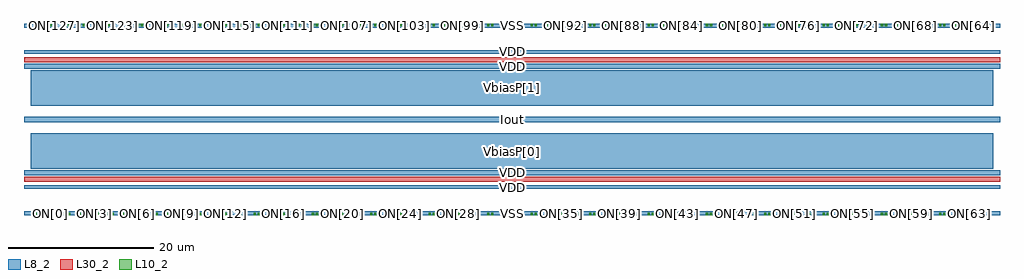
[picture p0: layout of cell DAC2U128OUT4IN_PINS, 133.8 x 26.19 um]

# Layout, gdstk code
import gdstk
lib = gdstk.Library(unit=1e-6, precision=1e-09)
def R(c, l, rs):  # rectangles x0, y0, x1, y1
    for r in rs: c.add(gdstk.rectangle(r[:2], r[2:], *l))
L8_2 = (8, 2)
L10_2 = (10, 2)
L30_2 = (30, 2)

dac2u128out4in_pins = lib.new_cell('DAC2U128OUT4IN_PINS')
R(dac2u128out4in_pins, L8_2, [(-1.9,-4.91,131.9,-4.41), (-1.9,-1.33,131.9,-0.83), (-1.9,0.55,131.9,1.22), (-1,1.4,131,6.33), (-1.9,7.835,131.9,8.535), (-1,10.04,131,14.97), (-1.9,15.15,131.9,15.82), (-1.9,17.2,131.9,17.7), (-1.9,20.78,131.9,21.28)])
R(dac2u128out4in_pins, L10_2, [(-0.42,-4.91,-0.13,-4.62), (0.13,-4.91,0.42,-4.62), (1.58,-4.91,1.87,-4.62), (2.13,-4.91,2.42,-4.62), (3.58,-4.91,3.87,-4.62), (4.13,-4.91,4.42,-4.62), (5.58,-4.91,5.87,-4.62), (6.13,-4.91,6.42,-4.62), (7.58,-4.91,7.87,-4.62), (8.13,-4.91,8.42,-4.62), (9.58,-4.91,9.87,-4.62), (10.13,-4.91,10.42,-4.62), (11.58,-4.91,11.87,-4.62), (12.13,-4.91,12.42,-4.62), (13.58,-4.91,13.87,-4.62), (14.13,-4.91,14.42,-4.62), (15.58,-4.91,15.87,-4.62), (16.13,-4.91,16.42,-4.62), (17.58,-4.91,17.87,-4.62), (18.13,-4.91,18.42,-4.62), (19.58,-4.91,19.87,-4.62), (20.13,-4.91,20.42,-4.62), (21.58,-4.91,21.87,-4.62), (22.13,-4.91,22.42,-4.62), (23.58,-4.91,23.87,-4.62), (24.13,-4.91,24.42,-4.62), (25.58,-4.91,25.87,-4.62), (26.13,-4.91,26.42,-4.62), (27.58,-4.91,27.87,-4.62), (28.13,-4.91,28.42,-4.62), (29.58,-4.91,29.87,-4.62), (30.13,-4.91,30.42,-4.62), (31.58,-4.91,31.87,-4.62), (32.13,-4.91,32.42,-4.62), (33.58,-4.91,33.87,-4.62), (34.13,-4.91,34.42,-4.62), (35.58,-4.91,35.87,-4.62), (36.13,-4.91,36.42,-4.62), (37.58,-4.91,37.87,-4.62), (38.13,-4.91,38.42,-4.62), (39.58,-4.91,39.87,-4.62), (40.13,-4.91,40.42,-4.62), (41.58,-4.91,41.87,-4.62), (42.13,-4.91,42.42,-4.62), (43.58,-4.91,43.87,-4.62), (44.13,-4.91,44.42,-4.62), (45.58,-4.91,45.87,-4.62), (46.13,-4.91,46.42,-4.62), (47.58,-4.91,47.87,-4.62), (48.13,-4.91,48.42,-4.62), (49.58,-4.91,49.87,-4.62), (50.13,-4.91,50.42,-4.62), (51.58,-4.91,51.87,-4.62), (52.13,-4.91,52.42,-4.62), (53.58,-4.91,53.87,-4.62), (54.13,-4.91,54.42,-4.62), (55.58,-4.91,55.87,-4.62), (56.13,-4.91,56.42,-4.62), (57.58,-4.91,57.87,-4.62), (58.13,-4.91,58.42,-4.62), (59.58,-4.91,59.87,-4.62), (60.13,-4.91,60.42,-4.62), (61.58,-4.91,61.87,-4.62), (62.13,-4.91,62.42,-4.62), (63.58,-4.91,63.87,-4.62), (64.13,-4.91,64.42,-4.62), (65.58,-4.91,65.87,-4.62), (66.13,-4.91,66.42,-4.62), (67.58,-4.91,67.87,-4.62), (68.13,-4.91,68.42,-4.62), (69.58,-4.91,69.87,-4.62), (70.13,-4.91,70.42,-4.62), (71.58,-4.91,71.87,-4.62), (72.13,-4.91,72.42,-4.62), (73.58,-4.91,73.87,-4.62), (74.13,-4.91,74.42,-4.62), (75.58,-4.91,75.87,-4.62), (76.13,-4.91,76.42,-4.62), (77.58,-4.91,77.87,-4.62), (78.13,-4.91,78.42,-4.62), (79.58,-4.91,79.87,-4.62), (80.13,-4.91,80.42,-4.62), (81.58,-4.91,81.87,-4.62), (82.13,-4.91,82.42,-4.62), (83.58,-4.91,83.87,-4.62), (84.13,-4.91,84.42,-4.62), (85.58,-4.91,85.87,-4.62), (86.13,-4.91,86.42,-4.62), (87.58,-4.91,87.87,-4.62), (88.13,-4.91,88.42,-4.62), (89.58,-4.91,89.87,-4.62), (90.13,-4.91,90.42,-4.62), (91.58,-4.91,91.87,-4.62), (92.13,-4.91,92.42,-4.62), (93.58,-4.91,93.87,-4.62), (94.13,-4.91,94.42,-4.62), (95.58,-4.91,95.87,-4.62), (96.13,-4.91,96.42,-4.62), (97.58,-4.91,97.87,-4.62), (98.13,-4.91,98.42,-4.62), (99.58,-4.91,99.87,-4.62), (100.13,-4.91,100.42,-4.62), (101.58,-4.91,101.87,-4.62), (102.13,-4.91,102.42,-4.62), (103.58,-4.91,103.87,-4.62), (104.13,-4.91,104.42,-4.62), (105.58,-4.91,105.87,-4.62), (106.13,-4.91,106.42,-4.62), (107.58,-4.91,107.87,-4.62), (108.13,-4.91,108.42,-4.62), (109.58,-4.91,109.87,-4.62), (110.13,-4.91,110.42,-4.62), (111.58,-4.91,111.87,-4.62), (112.13,-4.91,112.42,-4.62), (113.58,-4.91,113.87,-4.62), (114.13,-4.91,114.42,-4.62), (115.58,-4.91,115.87,-4.62), (116.13,-4.91,116.42,-4.62), (117.58,-4.91,117.87,-4.62), (118.13,-4.91,118.42,-4.62), (119.58,-4.91,119.87,-4.62), (120.13,-4.91,120.42,-4.62), (121.58,-4.91,121.87,-4.62), (122.13,-4.91,122.42,-4.62), (123.58,-4.91,123.87,-4.62), (124.13,-4.91,124.42,-4.62), (125.58,-4.91,125.87,-4.62), (126.13,-4.91,126.42,-4.62), (127.58,-4.91,127.87,-4.62), (128.13,-4.91,128.42,-4.62), (129.58,-4.91,129.87,-4.62), (130.13,-4.91,130.42,-4.62), (-0.42,20.99,-0.13,21.28), (0.13,20.99,0.42,21.28), (1.58,20.99,1.87,21.28), (2.13,20.99,2.42,21.28), (3.58,20.99,3.87,21.28), (4.13,20.99,4.42,21.28), (5.58,20.99,5.87,21.28), (6.13,20.99,6.42,21.28), (7.58,20.99,7.87,21.28), (8.13,20.99,8.42,21.28), (9.58,20.99,9.87,21.28), (10.13,20.99,10.42,21.28), (11.58,20.99,11.87,21.28), (12.13,20.99,12.42,21.28), (13.58,20.99,13.87,21.28), (14.13,20.99,14.42,21.28), (15.58,20.99,15.87,21.28), (16.13,20.99,16.42,21.28), (17.58,20.99,17.87,21.28), (18.13,20.99,18.42,21.28), (19.58,20.99,19.87,21.28), (20.13,20.99,20.42,21.28), (21.58,20.99,21.87,21.28), (22.13,20.99,22.42,21.28), (23.58,20.99,23.87,21.28), (24.13,20.99,24.42,21.28), (25.58,20.99,25.87,21.28), (26.13,20.99,26.42,21.28), (27.58,20.99,27.87,21.28), (28.13,20.99,28.42,21.28), (29.58,20.99,29.87,21.28), (30.13,20.99,30.42,21.28), (31.58,20.99,31.87,21.28), (32.13,20.99,32.42,21.28), (33.58,20.99,33.87,21.28), (34.13,20.99,34.42,21.28), (35.58,20.99,35.87,21.28), (36.13,20.99,36.42,21.28), (37.58,20.99,37.87,21.28), (38.13,20.99,38.42,21.28), (39.58,20.99,39.87,21.28), (40.13,20.99,40.42,21.28), (41.58,20.99,41.87,21.28), (42.13,20.99,42.42,21.28), (43.58,20.99,43.87,21.28), (44.13,20.99,44.42,21.28), (45.58,20.99,45.87,21.28), (46.13,20.99,46.42,21.28), (47.58,20.99,47.87,21.28), (48.13,20.99,48.42,21.28), (49.58,20.99,49.87,21.28), (50.13,20.99,50.42,21.28), (51.58,20.99,51.87,21.28), (52.13,20.99,52.42,21.28), (53.58,20.99,53.87,21.28), (54.13,20.99,54.42,21.28), (55.58,20.99,55.87,21.28), (56.13,20.99,56.42,21.28), (57.58,20.99,57.87,21.28), (58.13,20.99,58.42,21.28), (59.58,20.99,59.87,21.28), (60.13,20.99,60.42,21.28), (61.58,20.99,61.87,21.28), (62.13,20.99,62.42,21.28), (63.58,20.99,63.87,21.28), (64.13,20.99,64.42,21.28), (65.58,20.99,65.87,21.28), (66.13,20.99,66.42,21.28), (67.58,20.99,67.87,21.28), (68.13,20.99,68.42,21.28), (69.58,20.99,69.87,21.28), (70.13,20.99,70.42,21.28), (71.58,20.99,71.87,21.28), (72.13,20.99,72.42,21.28), (73.58,20.99,73.87,21.28), (74.13,20.99,74.42,21.28), (75.58,20.99,75.87,21.28), (76.13,20.99,76.42,21.28), (77.58,20.99,77.87,21.28), (78.13,20.99,78.42,21.28), (79.58,20.99,79.87,21.28), (80.13,20.99,80.42,21.28), (81.58,20.99,81.87,21.28), (82.13,20.99,82.42,21.28), (83.58,20.99,83.87,21.28), (84.13,20.99,84.42,21.28), (85.58,20.99,85.87,21.28), (86.13,20.99,86.42,21.28), (87.58,20.99,87.87,21.28), (88.13,20.99,88.42,21.28), (89.58,20.99,89.87,21.28), (90.13,20.99,90.42,21.28), (91.58,20.99,91.87,21.28), (92.13,20.99,92.42,21.28), (93.58,20.99,93.87,21.28), (94.13,20.99,94.42,21.28), (95.58,20.99,95.87,21.28), (96.13,20.99,96.42,21.28), (97.58,20.99,97.87,21.28), (98.13,20.99,98.42,21.28), (99.58,20.99,99.87,21.28), (100.13,20.99,100.42,21.28), (101.58,20.99,101.87,21.28), (102.13,20.99,102.42,21.28), (103.58,20.99,103.87,21.28), (104.13,20.99,104.42,21.28), (105.58,20.99,105.87,21.28), (106.13,20.99,106.42,21.28), (107.58,20.99,107.87,21.28), (108.13,20.99,108.42,21.28), (109.58,20.99,109.87,21.28), (110.13,20.99,110.42,21.28), (111.58,20.99,111.87,21.28), (112.13,20.99,112.42,21.28), (113.58,20.99,113.87,21.28), (114.13,20.99,114.42,21.28), (115.58,20.99,115.87,21.28), (116.13,20.99,116.42,21.28), (117.58,20.99,117.87,21.28), (118.13,20.99,118.42,21.28), (119.58,20.99,119.87,21.28), (120.13,20.99,120.42,21.28), (121.58,20.99,121.87,21.28), (122.13,20.99,122.42,21.28), (123.58,20.99,123.87,21.28), (124.13,20.99,124.42,21.28), (125.58,20.99,125.87,21.28), (126.13,20.99,126.42,21.28), (127.58,20.99,127.87,21.28), (128.13,20.99,128.42,21.28), (129.58,20.99,129.87,21.28), (130.13,20.99,130.42,21.28)])
R(dac2u128out4in_pins, L30_2, [(-1.9,-0.35,131.9,0.35), (-1.9,16.02,131.9,16.72)])
dac2u128out4in_pins.add(gdstk.Label('VDD', (65,15.485), layer=8, texttype=2))
dac2u128out4in_pins.add(gdstk.Label('VDD', (65,17.45), layer=8, texttype=2))
dac2u128out4in_pins.add(gdstk.Label('VSS', (65,21.03), layer=8, texttype=2))
dac2u128out4in_pins.add(gdstk.Label('VbiasP[1]', (65,12.505), layer=8, texttype=2))
dac2u128out4in_pins.add(gdstk.Label('Iout', (65,8.185), layer=8, texttype=2))
dac2u128out4in_pins.add(gdstk.Label('VDD', (65,0.885), layer=8, texttype=2))
dac2u128out4in_pins.add(gdstk.Label('VDD', (65,-1.08), layer=8, texttype=2))
dac2u128out4in_pins.add(gdstk.Label('VSS', (65,-4.66), layer=8, texttype=2))
dac2u128out4in_pins.add(gdstk.Label('VbiasP[0]', (65,3.865), layer=8, texttype=2))
dac2u128out4in_pins.add(gdstk.Label('ON[64]', (128.275,21.135), layer=10, texttype=2))
dac2u128out4in_pins.add(gdstk.Label('ONB[64]', (127.725,21.135), layer=10, texttype=2))
dac2u128out4in_pins.add(gdstk.Label('ON[65]', (126.275,21.135), layer=10, texttype=2))
dac2u128out4in_pins.add(gdstk.Label('ONB[65]', (125.725,21.135), layer=10, texttype=2))
dac2u128out4in_pins.add(gdstk.Label('ON[66]', (124.275,21.135), layer=10, texttype=2))
dac2u128out4in_pins.add(gdstk.Label('ONB[66]', (123.725,21.135), layer=10, texttype=2))
dac2u128out4in_pins.add(gdstk.Label('ON[67]', (122.275,21.135), layer=10, texttype=2))
dac2u128out4in_pins.add(gdstk.Label('ONB[67]', (121.725,21.135), layer=10, texttype=2))
dac2u128out4in_pins.add(gdstk.Label('ON[68]', (120.275,21.135), layer=10, texttype=2))
dac2u128out4in_pins.add(gdstk.Label('ONB[68]', (119.725,21.135), layer=10, texttype=2))
dac2u128out4in_pins.add(gdstk.Label('ON[69]', (118.275,21.135), layer=10, texttype=2))
dac2u128out4in_pins.add(gdstk.Label('ONB[69]', (117.725,21.135), layer=10, texttype=2))
dac2u128out4in_pins.add(gdstk.Label('ON[70]', (116.275,21.135), layer=10, texttype=2))
dac2u128out4in_pins.add(gdstk.Label('ONB[70]', (115.725,21.135), layer=10, texttype=2))
dac2u128out4in_pins.add(gdstk.Label('ON[71]', (114.275,21.135), layer=10, texttype=2))
dac2u128out4in_pins.add(gdstk.Label('ONB[71]', (113.725,21.135), layer=10, texttype=2))
dac2u128out4in_pins.add(gdstk.Label('ON[72]', (112.275,21.135), layer=10, texttype=2))
dac2u128out4in_pins.add(gdstk.Label('ONB[72]', (111.725,21.135), layer=10, texttype=2))
dac2u128out4in_pins.add(gdstk.Label('ON[73]', (110.275,21.135), layer=10, texttype=2))
dac2u128out4in_pins.add(gdstk.Label('ONB[73]', (109.725,21.135), layer=10, texttype=2))
dac2u128out4in_pins.add(gdstk.Label('ON[74]', (108.275,21.135), layer=10, texttype=2))
dac2u128out4in_pins.add(gdstk.Label('ONB[74]', (107.725,21.135), layer=10, texttype=2))
dac2u128out4in_pins.add(gdstk.Label('ON[75]', (106.275,21.135), layer=10, texttype=2))
dac2u128out4in_pins.add(gdstk.Label('ONB[75]', (105.725,21.135), layer=10, texttype=2))
dac2u128out4in_pins.add(gdstk.Label('ON[76]', (104.275,21.135), layer=10, texttype=2))
dac2u128out4in_pins.add(gdstk.Label('ONB[76]', (103.725,21.135), layer=10, texttype=2))
dac2u128out4in_pins.add(gdstk.Label('ON[77]', (102.275,21.135), layer=10, texttype=2))
dac2u128out4in_pins.add(gdstk.Label('ONB[77]', (101.725,21.135), layer=10, texttype=2))
dac2u128out4in_pins.add(gdstk.Label('ON[78]', (100.275,21.135), layer=10, texttype=2))
dac2u128out4in_pins.add(gdstk.Label('ONB[78]', (99.725,21.135), layer=10, texttype=2))
dac2u128out4in_pins.add(gdstk.Label('ON[79]', (98.275,21.135), layer=10, texttype=2))
dac2u128out4in_pins.add(gdstk.Label('ONB[79]', (97.725,21.135), layer=10, texttype=2))
dac2u128out4in_pins.add(gdstk.Label('ON[80]', (96.275,21.135), layer=10, texttype=2))
dac2u128out4in_pins.add(gdstk.Label('ONB[80]', (95.725,21.135), layer=10, texttype=2))
dac2u128out4in_pins.add(gdstk.Label('ON[81]', (94.275,21.135), layer=10, texttype=2))
dac2u128out4in_pins.add(gdstk.Label('ONB[81]', (93.725,21.135), layer=10, texttype=2))
dac2u128out4in_pins.add(gdstk.Label('ON[82]', (92.275,21.135), layer=10, texttype=2))
dac2u128out4in_pins.add(gdstk.Label('ONB[82]', (91.725,21.135), layer=10, texttype=2))
dac2u128out4in_pins.add(gdstk.Label('ON[83]', (90.275,21.135), layer=10, texttype=2))
dac2u128out4in_pins.add(gdstk.Label('ONB[83]', (89.725,21.135), layer=10, texttype=2))
dac2u128out4in_pins.add(gdstk.Label('ON[84]', (88.275,21.135), layer=10, texttype=2))
dac2u128out4in_pins.add(gdstk.Label('ONB[84]', (87.725,21.135), layer=10, texttype=2))
dac2u128out4in_pins.add(gdstk.Label('ON[85]', (86.275,21.135), layer=10, texttype=2))
dac2u128out4in_pins.add(gdstk.Label('ONB[85]', (85.725,21.135), layer=10, texttype=2))
dac2u128out4in_pins.add(gdstk.Label('ON[86]', (84.275,21.135), layer=10, texttype=2))
dac2u128out4in_pins.add(gdstk.Label('ONB[86]', (83.725,21.135), layer=10, texttype=2))
dac2u128out4in_pins.add(gdstk.Label('ON[87]', (82.275,21.135), layer=10, texttype=2))
dac2u128out4in_pins.add(gdstk.Label('ONB[87]', (81.725,21.135), layer=10, texttype=2))
dac2u128out4in_pins.add(gdstk.Label('ON[88]', (80.275,21.135), layer=10, texttype=2))
dac2u128out4in_pins.add(gdstk.Label('ONB[88]', (79.725,21.135), layer=10, texttype=2))
dac2u128out4in_pins.add(gdstk.Label('ON[89]', (78.275,21.135), layer=10, texttype=2))
dac2u128out4in_pins.add(gdstk.Label('ONB[89]', (77.725,21.135), layer=10, texttype=2))
dac2u128out4in_pins.add(gdstk.Label('ON[90]', (76.275,21.135), layer=10, texttype=2))
dac2u128out4in_pins.add(gdstk.Label('ONB[90]', (75.725,21.135), layer=10, texttype=2))
dac2u128out4in_pins.add(gdstk.Label('ON[91]', (74.275,21.135), layer=10, texttype=2))
dac2u128out4in_pins.add(gdstk.Label('ONB[91]', (73.725,21.135), layer=10, texttype=2))
dac2u128out4in_pins.add(gdstk.Label('ON[92]', (72.275,21.135), layer=10, texttype=2))
dac2u128out4in_pins.add(gdstk.Label('ONB[92]', (71.725,21.135), layer=10, texttype=2))
dac2u128out4in_pins.add(gdstk.Label('ON[93]', (70.275,21.135), layer=10, texttype=2))
dac2u128out4in_pins.add(gdstk.Label('ONB[93]', (69.725,21.135), layer=10, texttype=2))
dac2u128out4in_pins.add(gdstk.Label('ON[94]', (68.275,21.135), layer=10, texttype=2))
dac2u128out4in_pins.add(gdstk.Label('ONB[94]', (67.725,21.135), layer=10, texttype=2))
dac2u128out4in_pins.add(gdstk.Label('ON[95]', (66.275,21.135), layer=10, texttype=2))
dac2u128out4in_pins.add(gdstk.Label('ONB[95]', (65.725,21.135), layer=10, texttype=2))
dac2u128out4in_pins.add(gdstk.Label('EN[2]', (130.275,21.135), layer=10, texttype=2))
dac2u128out4in_pins.add(gdstk.Label('ENB[2]', (129.725,21.135), layer=10, texttype=2))
dac2u128out4in_pins.add(gdstk.Label('ON[97]', (62.275,21.135), layer=10, texttype=2))
dac2u128out4in_pins.add(gdstk.Label('ONB[97]', (61.725,21.135), layer=10, texttype=2))
dac2u128out4in_pins.add(gdstk.Label('ON[98]', (60.275,21.135), layer=10, texttype=2))
dac2u128out4in_pins.add(gdstk.Label('ONB[98]', (59.725,21.135), layer=10, texttype=2))
dac2u128out4in_pins.add(gdstk.Label('ON[99]', (58.275,21.135), layer=10, texttype=2))
dac2u128out4in_pins.add(gdstk.Label('ONB[99]', (57.725,21.135), layer=10, texttype=2))
dac2u128out4in_pins.add(gdstk.Label('ON[100]', (56.275,21.135), layer=10, texttype=2))
dac2u128out4in_pins.add(gdstk.Label('ONB[100]', (55.725,21.135), layer=10, texttype=2))
dac2u128out4in_pins.add(gdstk.Label('ON[101]', (54.275,21.135), layer=10, texttype=2))
dac2u128out4in_pins.add(gdstk.Label('ONB[101]', (53.725,21.135), layer=10, texttype=2))
dac2u128out4in_pins.add(gdstk.Label('ON[102]', (52.275,21.135), layer=10, texttype=2))
dac2u128out4in_pins.add(gdstk.Label('ONB[102]', (51.725,21.135), layer=10, texttype=2))
dac2u128out4in_pins.add(gdstk.Label('ON[103]', (50.275,21.135), layer=10, texttype=2))
dac2u128out4in_pins.add(gdstk.Label('ONB[103]', (49.725,21.135), layer=10, texttype=2))
dac2u128out4in_pins.add(gdstk.Label('ON[104]', (48.275,21.135), layer=10, texttype=2))
dac2u128out4in_pins.add(gdstk.Label('ONB[104]', (47.725,21.135), layer=10, texttype=2))
dac2u128out4in_pins.add(gdstk.Label('ON[105]', (46.275,21.135), layer=10, texttype=2))
dac2u128out4in_pins.add(gdstk.Label('ONB[105]', (45.725,21.135), layer=10, texttype=2))
dac2u128out4in_pins.add(gdstk.Label('ON[106]', (44.275,21.135), layer=10, texttype=2))
dac2u128out4in_pins.add(gdstk.Label('ONB[106]', (43.725,21.135), layer=10, texttype=2))
dac2u128out4in_pins.add(gdstk.Label('ON[107]', (42.275,21.135), layer=10, texttype=2))
dac2u128out4in_pins.add(gdstk.Label('ONB[107]', (41.725,21.135), layer=10, texttype=2))
dac2u128out4in_pins.add(gdstk.Label('ON[108]', (40.275,21.135), layer=10, texttype=2))
dac2u128out4in_pins.add(gdstk.Label('ONB[108]', (39.725,21.135), layer=10, texttype=2))
dac2u128out4in_pins.add(gdstk.Label('ON[109]', (38.275,21.135), layer=10, texttype=2))
dac2u128out4in_pins.add(gdstk.Label('ONB[109]', (37.725,21.135), layer=10, texttype=2))
dac2u128out4in_pins.add(gdstk.Label('ON[110]', (36.275,21.135), layer=10, texttype=2))
dac2u128out4in_pins.add(gdstk.Label('ONB[110]', (35.725,21.135), layer=10, texttype=2))
dac2u128out4in_pins.add(gdstk.Label('ON[111]', (34.275,21.135), layer=10, texttype=2))
dac2u128out4in_pins.add(gdstk.Label('ONB[111]', (33.725,21.135), layer=10, texttype=2))
dac2u128out4in_pins.add(gdstk.Label('ON[112]', (32.275,21.135), layer=10, texttype=2))
dac2u128out4in_pins.add(gdstk.Label('ONB[112]', (31.725,21.135), layer=10, texttype=2))
dac2u128out4in_pins.add(gdstk.Label('ON[113]', (30.275,21.135), layer=10, texttype=2))
dac2u128out4in_pins.add(gdstk.Label('ONB[113]', (29.725,21.135), layer=10, texttype=2))
dac2u128out4in_pins.add(gdstk.Label('ON[114]', (28.275,21.135), layer=10, texttype=2))
dac2u128out4in_pins.add(gdstk.Label('ONB[114]', (27.725,21.135), layer=10, texttype=2))
dac2u128out4in_pins.add(gdstk.Label('ON[115]', (26.275,21.135), layer=10, texttype=2))
dac2u128out4in_pins.add(gdstk.Label('ONB[115]', (25.725,21.135), layer=10, texttype=2))
dac2u128out4in_pins.add(gdstk.Label('ON[116]', (24.275,21.135), layer=10, texttype=2))
dac2u128out4in_pins.add(gdstk.Label('ONB[116]', (23.725,21.135), layer=10, texttype=2))
dac2u128out4in_pins.add(gdstk.Label('ON[117]', (22.275,21.135), layer=10, texttype=2))
dac2u128out4in_pins.add(gdstk.Label('ONB[117]', (21.725,21.135), layer=10, texttype=2))
dac2u128out4in_pins.add(gdstk.Label('ON[118]', (20.275,21.135), layer=10, texttype=2))
dac2u128out4in_pins.add(gdstk.Label('ONB[118]', (19.725,21.135), layer=10, texttype=2))
dac2u128out4in_pins.add(gdstk.Label('ON[119]', (18.275,21.135), layer=10, texttype=2))
dac2u128out4in_pins.add(gdstk.Label('ONB[119]', (17.725,21.135), layer=10, texttype=2))
dac2u128out4in_pins.add(gdstk.Label('ON[120]', (16.275,21.135), layer=10, texttype=2))
dac2u128out4in_pins.add(gdstk.Label('ONB[120]', (15.725,21.135), layer=10, texttype=2))
dac2u128out4in_pins.add(gdstk.Label('ON[121]', (14.275,21.135), layer=10, texttype=2))
dac2u128out4in_pins.add(gdstk.Label('ONB[121]', (13.725,21.135), layer=10, texttype=2))
dac2u128out4in_pins.add(gdstk.Label('ON[122]', (12.275,21.135), layer=10, texttype=2))
dac2u128out4in_pins.add(gdstk.Label('ONB[122]', (11.725,21.135), layer=10, texttype=2))
dac2u128out4in_pins.add(gdstk.Label('ON[123]', (10.275,21.135), layer=10, texttype=2))
dac2u128out4in_pins.add(gdstk.Label('ONB[123]', (9.725,21.135), layer=10, texttype=2))
dac2u128out4in_pins.add(gdstk.Label('ON[124]', (8.275,21.135), layer=10, texttype=2))
dac2u128out4in_pins.add(gdstk.Label('ONB[124]', (7.725,21.135), layer=10, texttype=2))
dac2u128out4in_pins.add(gdstk.Label('ON[125]', (6.275,21.135), layer=10, texttype=2))
dac2u128out4in_pins.add(gdstk.Label('ONB[125]', (5.725,21.135), layer=10, texttype=2))
dac2u128out4in_pins.add(gdstk.Label('ON[126]', (4.275,21.135), layer=10, texttype=2))
dac2u128out4in_pins.add(gdstk.Label('ONB[126]', (3.725,21.135), layer=10, texttype=2))
dac2u128out4in_pins.add(gdstk.Label('ON[127]', (2.275,21.135), layer=10, texttype=2))
dac2u128out4in_pins.add(gdstk.Label('ONB[127]', (1.725,21.135), layer=10, texttype=2))
dac2u128out4in_pins.add(gdstk.Label('ON[96]', (64.275,21.135), layer=10, texttype=2))
dac2u128out4in_pins.add(gdstk.Label('ONB[96]', (63.725,21.135), layer=10, texttype=2))
dac2u128out4in_pins.add(gdstk.Label('EN[3]', (0.275,21.135), layer=10, texttype=2))
dac2u128out4in_pins.add(gdstk.Label('ENB[3]', (-0.275,21.135), layer=10, texttype=2))
dac2u128out4in_pins.add(gdstk.Label('ON[0]', (1.725,-4.765), layer=10, texttype=2))
dac2u128out4in_pins.add(gdstk.Label('ONB[0]', (2.275,-4.765), layer=10, texttype=2))
dac2u128out4in_pins.add(gdstk.Label('ON[1]', (3.725,-4.765), layer=10, texttype=2))
dac2u128out4in_pins.add(gdstk.Label('ONB[1]', (4.275,-4.765), layer=10, texttype=2))
dac2u128out4in_pins.add(gdstk.Label('ON[2]', (5.725,-4.765), layer=10, texttype=2))
dac2u128out4in_pins.add(gdstk.Label('ONB[2]', (6.275,-4.765), layer=10, texttype=2))
dac2u128out4in_pins.add(gdstk.Label('ON[3]', (7.725,-4.765), layer=10, texttype=2))
dac2u128out4in_pins.add(gdstk.Label('ONB[3]', (8.275,-4.765), layer=10, texttype=2))
dac2u128out4in_pins.add(gdstk.Label('ON[4]', (9.725,-4.765), layer=10, texttype=2))
dac2u128out4in_pins.add(gdstk.Label('ONB[4]', (10.275,-4.765), layer=10, texttype=2))
dac2u128out4in_pins.add(gdstk.Label('ON[5]', (11.725,-4.765), layer=10, texttype=2))
dac2u128out4in_pins.add(gdstk.Label('ONB[5]', (12.275,-4.765), layer=10, texttype=2))
dac2u128out4in_pins.add(gdstk.Label('ON[6]', (13.725,-4.765), layer=10, texttype=2))
dac2u128out4in_pins.add(gdstk.Label('ONB[6]', (14.275,-4.765), layer=10, texttype=2))
dac2u128out4in_pins.add(gdstk.Label('ON[7]', (15.725,-4.765), layer=10, texttype=2))
dac2u128out4in_pins.add(gdstk.Label('ONB[7]', (16.275,-4.765), layer=10, texttype=2))
dac2u128out4in_pins.add(gdstk.Label('ON[8]', (17.725,-4.765), layer=10, texttype=2))
dac2u128out4in_pins.add(gdstk.Label('ONB[8]', (18.275,-4.765), layer=10, texttype=2))
dac2u128out4in_pins.add(gdstk.Label('ON[9]', (19.725,-4.765), layer=10, texttype=2))
dac2u128out4in_pins.add(gdstk.Label('ONB[9]', (20.275,-4.765), layer=10, texttype=2))
dac2u128out4in_pins.add(gdstk.Label('ON[10]', (21.725,-4.765), layer=10, texttype=2))
dac2u128out4in_pins.add(gdstk.Label('ONB[10]', (22.275,-4.765), layer=10, texttype=2))
dac2u128out4in_pins.add(gdstk.Label('ON[11]', (23.725,-4.765), layer=10, texttype=2))
dac2u128out4in_pins.add(gdstk.Label('ONB[11]', (24.275,-4.765), layer=10, texttype=2))
dac2u128out4in_pins.add(gdstk.Label('ON[12]', (25.725,-4.765), layer=10, texttype=2))
dac2u128out4in_pins.add(gdstk.Label('ONB[12]', (26.275,-4.765), layer=10, texttype=2))
dac2u128out4in_pins.add(gdstk.Label('ON[13]', (27.725,-4.765), layer=10, texttype=2))
dac2u128out4in_pins.add(gdstk.Label('ONB[13]', (28.275,-4.765), layer=10, texttype=2))
dac2u128out4in_pins.add(gdstk.Label('ON[14]', (29.725,-4.765), layer=10, texttype=2))
dac2u128out4in_pins.add(gdstk.Label('ONB[14]', (30.275,-4.765), layer=10, texttype=2))
dac2u128out4in_pins.add(gdstk.Label('ON[15]', (31.725,-4.765), layer=10, texttype=2))
dac2u128out4in_pins.add(gdstk.Label('ONB[15]', (32.275,-4.765), layer=10, texttype=2))
dac2u128out4in_pins.add(gdstk.Label('ON[16]', (33.725,-4.765), layer=10, texttype=2))
dac2u128out4in_pins.add(gdstk.Label('ONB[16]', (34.275,-4.765), layer=10, texttype=2))
dac2u128out4in_pins.add(gdstk.Label('ON[17]', (35.725,-4.765), layer=10, texttype=2))
dac2u128out4in_pins.add(gdstk.Label('ONB[17]', (36.275,-4.765), layer=10, texttype=2))
dac2u128out4in_pins.add(gdstk.Label('ON[18]', (37.725,-4.765), layer=10, texttype=2))
dac2u128out4in_pins.add(gdstk.Label('ONB[18]', (38.275,-4.765), layer=10, texttype=2))
dac2u128out4in_pins.add(gdstk.Label('ON[19]', (39.725,-4.765), layer=10, texttype=2))
dac2u128out4in_pins.add(gdstk.Label('ONB[19]', (40.275,-4.765), layer=10, texttype=2))
dac2u128out4in_pins.add(gdstk.Label('ON[20]', (41.725,-4.765), layer=10, texttype=2))
dac2u128out4in_pins.add(gdstk.Label('ONB[20]', (42.275,-4.765), layer=10, texttype=2))
dac2u128out4in_pins.add(gdstk.Label('ON[21]', (43.725,-4.765), layer=10, texttype=2))
dac2u128out4in_pins.add(gdstk.Label('ONB[21]', (44.275,-4.765), layer=10, texttype=2))
dac2u128out4in_pins.add(gdstk.Label('ON[22]', (45.725,-4.765), layer=10, texttype=2))
dac2u128out4in_pins.add(gdstk.Label('ONB[22]', (46.275,-4.765), layer=10, texttype=2))
dac2u128out4in_pins.add(gdstk.Label('ON[23]', (47.725,-4.765), layer=10, texttype=2))
dac2u128out4in_pins.add(gdstk.Label('ONB[23]', (48.275,-4.765), layer=10, texttype=2))
dac2u128out4in_pins.add(gdstk.Label('ON[24]', (49.725,-4.765), layer=10, texttype=2))
dac2u128out4in_pins.add(gdstk.Label('ONB[24]', (50.275,-4.765), layer=10, texttype=2))
dac2u128out4in_pins.add(gdstk.Label('ON[25]', (51.725,-4.765), layer=10, texttype=2))
dac2u128out4in_pins.add(gdstk.Label('ONB[25]', (52.275,-4.765), layer=10, texttype=2))
dac2u128out4in_pins.add(gdstk.Label('ON[26]', (53.725,-4.765), layer=10, texttype=2))
dac2u128out4in_pins.add(gdstk.Label('ONB[26]', (54.275,-4.765), layer=10, texttype=2))
dac2u128out4in_pins.add(gdstk.Label('ON[27]', (55.725,-4.765), layer=10, texttype=2))
dac2u128out4in_pins.add(gdstk.Label('ONB[27]', (56.275,-4.765), layer=10, texttype=2))
dac2u128out4in_pins.add(gdstk.Label('ON[28]', (57.725,-4.765), layer=10, texttype=2))
dac2u128out4in_pins.add(gdstk.Label('ONB[28]', (58.275,-4.765), layer=10, texttype=2))
dac2u128out4in_pins.add(gdstk.Label('ON[29]', (59.725,-4.765), layer=10, texttype=2))
dac2u128out4in_pins.add(gdstk.Label('ONB[29]', (60.275,-4.765), layer=10, texttype=2))
dac2u128out4in_pins.add(gdstk.Label('ON[30]', (61.725,-4.765), layer=10, texttype=2))
dac2u128out4in_pins.add(gdstk.Label('ONB[30]', (62.275,-4.765), layer=10, texttype=2))
dac2u128out4in_pins.add(gdstk.Label('ON[31]', (63.725,-4.765), layer=10, texttype=2))
dac2u128out4in_pins.add(gdstk.Label('ONB[31]', (64.275,-4.765), layer=10, texttype=2))
dac2u128out4in_pins.add(gdstk.Label('EN[0]', (-0.275,-4.765), layer=10, texttype=2))
dac2u128out4in_pins.add(gdstk.Label('ENB[0]', (0.275,-4.765), layer=10, texttype=2))
dac2u128out4in_pins.add(gdstk.Label('ON[33]', (67.725,-4.765), layer=10, texttype=2))
dac2u128out4in_pins.add(gdstk.Label('ONB[33]', (68.275,-4.765), layer=10, texttype=2))
dac2u128out4in_pins.add(gdstk.Label('ON[34]', (69.725,-4.765), layer=10, texttype=2))
dac2u128out4in_pins.add(gdstk.Label('ONB[34]', (70.275,-4.765), layer=10, texttype=2))
dac2u128out4in_pins.add(gdstk.Label('ON[35]', (71.725,-4.765), layer=10, texttype=2))
dac2u128out4in_pins.add(gdstk.Label('ONB[35]', (72.275,-4.765), layer=10, texttype=2))
dac2u128out4in_pins.add(gdstk.Label('ON[36]', (73.725,-4.765), layer=10, texttype=2))
dac2u128out4in_pins.add(gdstk.Label('ONB[36]', (74.275,-4.765), layer=10, texttype=2))
dac2u128out4in_pins.add(gdstk.Label('ON[37]', (75.725,-4.765), layer=10, texttype=2))
dac2u128out4in_pins.add(gdstk.Label('ONB[37]', (76.275,-4.765), layer=10, texttype=2))
dac2u128out4in_pins.add(gdstk.Label('ON[38]', (77.725,-4.765), layer=10, texttype=2))
dac2u128out4in_pins.add(gdstk.Label('ONB[38]', (78.275,-4.765), layer=10, texttype=2))
dac2u128out4in_pins.add(gdstk.Label('ON[39]', (79.725,-4.765), layer=10, texttype=2))
dac2u128out4in_pins.add(gdstk.Label('ONB[39]', (80.275,-4.765), layer=10, texttype=2))
dac2u128out4in_pins.add(gdstk.Label('ON[40]', (81.725,-4.765), layer=10, texttype=2))
dac2u128out4in_pins.add(gdstk.Label('ONB[40]', (82.275,-4.765), layer=10, texttype=2))
dac2u128out4in_pins.add(gdstk.Label('ON[41]', (83.725,-4.765), layer=10, texttype=2))
dac2u128out4in_pins.add(gdstk.Label('ONB[41]', (84.275,-4.765), layer=10, texttype=2))
dac2u128out4in_pins.add(gdstk.Label('ON[42]', (85.725,-4.765), layer=10, texttype=2))
dac2u128out4in_pins.add(gdstk.Label('ONB[42]', (86.275,-4.765), layer=10, texttype=2))
dac2u128out4in_pins.add(gdstk.Label('ON[43]', (87.725,-4.765), layer=10, texttype=2))
dac2u128out4in_pins.add(gdstk.Label('ONB[43]', (88.275,-4.765), layer=10, texttype=2))
dac2u128out4in_pins.add(gdstk.Label('ON[44]', (89.725,-4.765), layer=10, texttype=2))
dac2u128out4in_pins.add(gdstk.Label('ONB[44]', (90.275,-4.765), layer=10, texttype=2))
dac2u128out4in_pins.add(gdstk.Label('ON[45]', (91.725,-4.765), layer=10, texttype=2))
dac2u128out4in_pins.add(gdstk.Label('ONB[45]', (92.275,-4.765), layer=10, texttype=2))
dac2u128out4in_pins.add(gdstk.Label('ON[46]', (93.725,-4.765), layer=10, texttype=2))
dac2u128out4in_pins.add(gdstk.Label('ONB[46]', (94.275,-4.765), layer=10, texttype=2))
dac2u128out4in_pins.add(gdstk.Label('ON[47]', (95.725,-4.765), layer=10, texttype=2))
dac2u128out4in_pins.add(gdstk.Label('ONB[47]', (96.275,-4.765), layer=10, texttype=2))
dac2u128out4in_pins.add(gdstk.Label('ON[48]', (97.725,-4.765), layer=10, texttype=2))
dac2u128out4in_pins.add(gdstk.Label('ONB[48]', (98.275,-4.765), layer=10, texttype=2))
dac2u128out4in_pins.add(gdstk.Label('ON[49]', (99.725,-4.765), layer=10, texttype=2))
dac2u128out4in_pins.add(gdstk.Label('ONB[49]', (100.275,-4.765), layer=10, texttype=2))
dac2u128out4in_pins.add(gdstk.Label('ON[50]', (101.725,-4.765), layer=10, texttype=2))
dac2u128out4in_pins.add(gdstk.Label('ONB[50]', (102.275,-4.765), layer=10, texttype=2))
dac2u128out4in_pins.add(gdstk.Label('ON[51]', (103.725,-4.765), layer=10, texttype=2))
dac2u128out4in_pins.add(gdstk.Label('ONB[51]', (104.275,-4.765), layer=10, texttype=2))
dac2u128out4in_pins.add(gdstk.Label('ON[52]', (105.725,-4.765), layer=10, texttype=2))
dac2u128out4in_pins.add(gdstk.Label('ONB[52]', (106.275,-4.765), layer=10, texttype=2))
dac2u128out4in_pins.add(gdstk.Label('ON[53]', (107.725,-4.765), layer=10, texttype=2))
dac2u128out4in_pins.add(gdstk.Label('ONB[53]', (108.275,-4.765), layer=10, texttype=2))
dac2u128out4in_pins.add(gdstk.Label('ON[54]', (109.725,-4.765), layer=10, texttype=2))
dac2u128out4in_pins.add(gdstk.Label('ONB[54]', (110.275,-4.765), layer=10, texttype=2))
dac2u128out4in_pins.add(gdstk.Label('ON[55]', (111.725,-4.765), layer=10, texttype=2))
dac2u128out4in_pins.add(gdstk.Label('ONB[55]', (112.275,-4.765), layer=10, texttype=2))
dac2u128out4in_pins.add(gdstk.Label('ON[56]', (113.725,-4.765), layer=10, texttype=2))
dac2u128out4in_pins.add(gdstk.Label('ONB[56]', (114.275,-4.765), layer=10, texttype=2))
dac2u128out4in_pins.add(gdstk.Label('ON[57]', (115.725,-4.765), layer=10, texttype=2))
dac2u128out4in_pins.add(gdstk.Label('ONB[57]', (116.275,-4.765), layer=10, texttype=2))
dac2u128out4in_pins.add(gdstk.Label('ON[58]', (117.725,-4.765), layer=10, texttype=2))
dac2u128out4in_pins.add(gdstk.Label('ONB[58]', (118.275,-4.765), layer=10, texttype=2))
dac2u128out4in_pins.add(gdstk.Label('ON[59]', (119.725,-4.765), layer=10, texttype=2))
dac2u128out4in_pins.add(gdstk.Label('ONB[59]', (120.275,-4.765), layer=10, texttype=2))
dac2u128out4in_pins.add(gdstk.Label('ON[60]', (121.725,-4.765), layer=10, texttype=2))
dac2u128out4in_pins.add(gdstk.Label('ONB[60]', (122.275,-4.765), layer=10, texttype=2))
dac2u128out4in_pins.add(gdstk.Label('ON[61]', (123.725,-4.765), layer=10, texttype=2))
dac2u128out4in_pins.add(gdstk.Label('ONB[61]', (124.275,-4.765), layer=10, texttype=2))
dac2u128out4in_pins.add(gdstk.Label('ON[62]', (125.725,-4.765), layer=10, texttype=2))
dac2u128out4in_pins.add(gdstk.Label('ONB[62]', (126.275,-4.765), layer=10, texttype=2))
dac2u128out4in_pins.add(gdstk.Label('ON[63]', (127.725,-4.765), layer=10, texttype=2))
dac2u128out4in_pins.add(gdstk.Label('ONB[63]', (128.275,-4.765), layer=10, texttype=2))
dac2u128out4in_pins.add(gdstk.Label('ON[32]', (65.725,-4.765), layer=10, texttype=2))
dac2u128out4in_pins.add(gdstk.Label('ONB[32]', (66.275,-4.765), layer=10, texttype=2))
dac2u128out4in_pins.add(gdstk.Label('EN[1]', (129.725,-4.765), layer=10, texttype=2))
dac2u128out4in_pins.add(gdstk.Label('ENB[1]', (130.275,-4.765), layer=10, texttype=2))
dac2u128out4in_pins.add(gdstk.Label('VcascP[1]', (65,16.37), layer=30, texttype=2))
dac2u128out4in_pins.add(gdstk.Label('VcascP[0]', (65,0), layer=30, texttype=2))

lib.write_gds('DAC2U128OUT4IN_PINS.gds')
